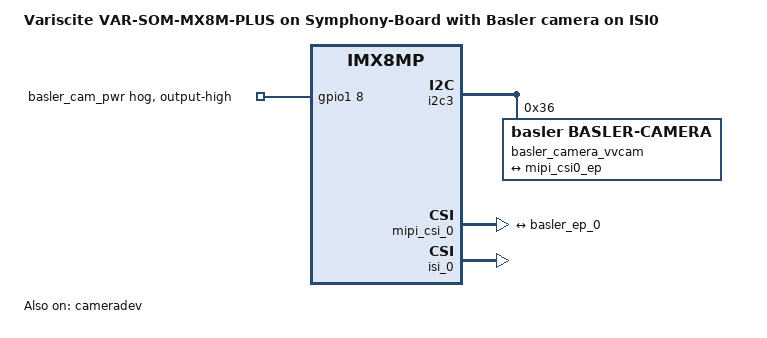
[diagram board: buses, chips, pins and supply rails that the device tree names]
// SPDX-License-Identifier: (GPL-2.0+ OR MIT)
/*
 * Copyright 2019 NXP
 * Copyright 2020-2021 Variscite Ltd.
 */

#include "imx8mp-var-som-symphony.dts"

/ {
	model = "Variscite VAR-SOM-MX8M-PLUS on Symphony-Board with Basler camera on ISI0";
};

&i2c3 {
	/delete-node/ov5640_mipi@3c;

	basler_camera_vvcam@36 {
		compatible = "basler,basler-camera", "basler-camera";
		reg = <0x36>;
		csi_id = <0x00>;
		status = "okay";

		port {
			basler_ep_0: endpoint {
				data-lanes = <1 2 3 4>;
				clock-lanes = <0>;
				link-frequencies = /bits/ 64 <500000000>;
				remote-endpoint = <&mipi_csi0_ep>;
			};
		};
	};
};

&mipi_csi_0 {
	status = "okay";

	port@0 {
		mipi_csi0_ep: endpoint {
			remote-endpoint = <&basler_ep_0>;
			data-lanes = <4>;
			csis-hs-settle = <16>;
		};
	};
};

&cameradev {
        status = "okay";
};

&isi_0 {
	status = "okay";
	dma-coherent;
	bsl,dma-invalidate;
	fsl,chain_buf;
};

&isi_1 {
	status = "disabled";
	fsl,chain_buf;
};

&isp_0 {
	status = "disabled";
};

&isp_1 {
	status = "disabled";
};

&dewarp {
	status = "disabled";
};

&gpio1 {
	pinctrl-names = "default";
	pinctrl-0 = <&pinctrl_basler>;

	cam_pwr_hog {
		gpio-hog;
		gpios = <8 0>;
		output-high;
		line-name = "basler_cam_pwr";
	};
};

&iomuxc {
	pinctrl_basler: baslergrp {
		fsl,pins = <
			MX8MP_IOMUXC_GPIO1_IO08__GPIO1_IO08	0x19
		>;
	};
};
